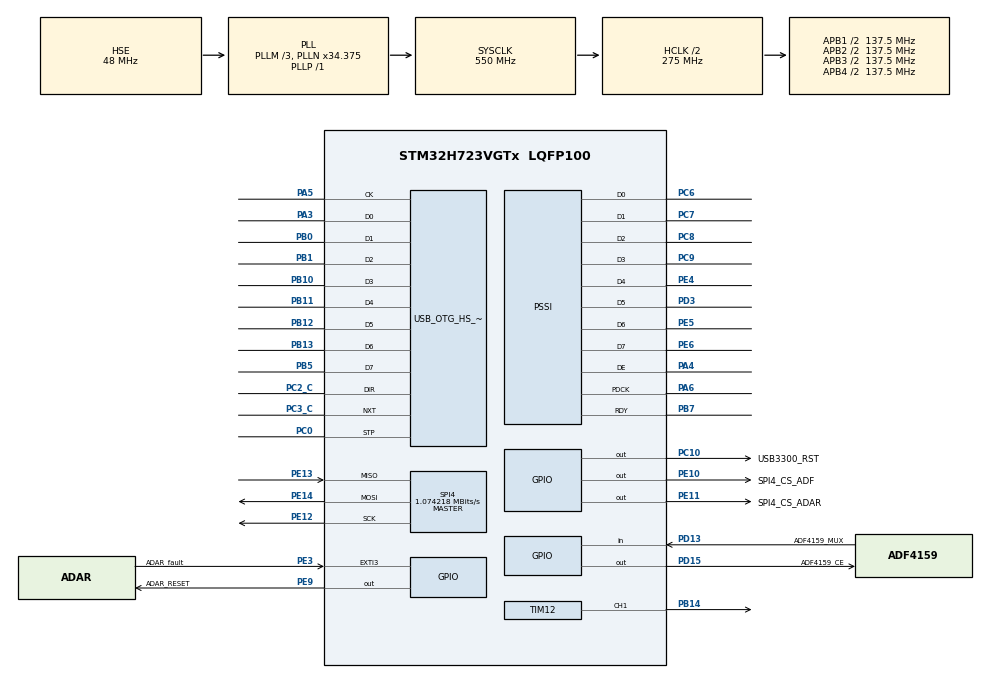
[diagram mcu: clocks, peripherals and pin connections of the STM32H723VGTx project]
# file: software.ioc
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CORTEX_M7.AccessPermission_Spec=MPU_REGION_FULL_ACCESS
CORTEX_M7.BaseAddress_Spec=0x24000000
CORTEX_M7.CPU_DCache=Enabled
CORTEX_M7.CPU_ICache=Enabled
CORTEX_M7.MPU_Control=MPU_PRIVILEGED_DEFAULT
CORTEX_M7.Size_Spec=MPU_REGION_SIZE_512KB
CORTEX_M7.SubRegionDisable_Spec=0x87
CORTEX_M7.TypeExtField_Spec=MPU_TEX_LEVEL1
CORTEX_M7.default_mode_Activation=1
Dma.FMAC_RD.1.Direction=DMA_PERIPH_TO_MEMORY
Dma.FMAC_RD.1.EventEnable=DISABLE
Dma.FMAC_RD.1.FIFOMode=DMA_FIFOMODE_DISABLE
Dma.FMAC_RD.1.Instance=DMA1_Stream1
Dma.FMAC_RD.1.MemDataAlignment=DMA_MDATAALIGN_BYTE
Dma.FMAC_RD.1.MemInc=DMA_MINC_ENABLE
Dma.FMAC_RD.1.Mode=DMA_CIRCULAR
Dma.FMAC_RD.1.PeriphDataAlignment=DMA_PDATAALIGN_BYTE
Dma.FMAC_RD.1.PeriphInc=DMA_PINC_DISABLE
Dma.FMAC_RD.1.Polarity=HAL_DMAMUX_REQ_GEN_RISING
Dma.FMAC_RD.1.Priority=DMA_PRIORITY_LOW
Dma.FMAC_RD.1.RequestNumber=1
Dma.FMAC_RD.1.SignalID=NONE
Dma.FMAC_RD.1.SyncEnable=DISABLE
Dma.FMAC_RD.1.SyncPolarity=HAL_DMAMUX_SYNC_NO_EVENT
Dma.FMAC_RD.1.SyncRequestNumber=1
Dma.FMAC_RD.1.SyncSignalID=NONE
Dma.FMAC_WR.2.Direction=DMA_MEMORY_TO_PERIPH
Dma.FMAC_WR.2.EventEnable=DISABLE
Dma.FMAC_WR.2.FIFOMode=DMA_FIFOMODE_DISABLE
Dma.FMAC_WR.2.Instance=DMA1_Stream2
Dma.FMAC_WR.2.MemDataAlignment=DMA_MDATAALIGN_BYTE
Dma.FMAC_WR.2.MemInc=DMA_MINC_ENABLE
Dma.FMAC_WR.2.Mode=DMA_CIRCULAR
Dma.FMAC_WR.2.PeriphDataAlignment=DMA_PDATAALIGN_BYTE
Dma.FMAC_WR.2.PeriphInc=DMA_PINC_DISABLE
Dma.FMAC_WR.2.Polarity=HAL_DMAMUX_REQ_GEN_RISING
Dma.FMAC_WR.2.Priority=DMA_PRIORITY_LOW
Dma.FMAC_WR.2.RequestNumber=1
Dma.FMAC_WR.2.SignalID=NONE
Dma.FMAC_WR.2.SyncEnable=DISABLE
Dma.FMAC_WR.2.SyncPolarity=HAL_DMAMUX_SYNC_NO_EVENT
Dma.FMAC_WR.2.SyncRequestNumber=1
Dma.FMAC_WR.2.SyncSignalID=NONE
Dma.PSSI.0.Direction=DMA_PERIPH_TO_MEMORY
Dma.PSSI.0.EventEnable=DISABLE
Dma.PSSI.0.FIFOMode=DMA_FIFOMODE_ENABLE
Dma.PSSI.0.FIFOThreshold=DMA_FIFO_THRESHOLD_HALFFULL
Dma.PSSI.0.Instance=DMA1_Stream0
Dma.PSSI.0.MemBurst=DMA_MBURST_SINGLE
Dma.PSSI.0.MemDataAlignment=DMA_MDATAALIGN_BYTE
Dma.PSSI.0.MemInc=DMA_MINC_ENABLE
Dma.PSSI.0.Mode=DMA_CIRCULAR
Dma.PSSI.0.PeriphBurst=DMA_PBURST_SINGLE
Dma.PSSI.0.PeriphDataAlignment=DMA_PDATAALIGN_WORD
Dma.PSSI.0.PeriphInc=DMA_PINC_DISABLE
Dma.PSSI.0.Polarity=HAL_DMAMUX_REQ_GEN_RISING
Dma.PSSI.0.Priority=DMA_PRIORITY_VERY_HIGH
Dma.PSSI.0.RequestNumber=1
Dma.PSSI.0.SignalID=NONE
Dma.PSSI.0.SyncEnable=DISABLE
Dma.PSSI.0.SyncPolarity=HAL_DMAMUX_SYNC_NO_EVENT
Dma.PSSI.0.SyncRequestNumber=1
Dma.PSSI.0.SyncSignalID=NONE
Dma.Request0=PSSI
Dma.Request1=FMAC_RD
Dma.Request2=FMAC_WR
FREERTOS.Tasks01=defaultTask,24,128,StartDefaultTask,Default,NULL,Dynamic,NULL,NULL
Mcu.Family=STM32H7
Mcu.Name=STM32H723VGTx
Mcu.Package=LQFP100
NVIC.DCMI_PSSI_IRQn=true\:5\:0\:false\:false\:true\:true\:true\:true\:true
NVIC.DMA1_Stream0_IRQn=true\:5\:0\:false\:false\:true\:true\:false\:true\:true
NVIC.DMA1_Stream1_IRQn=true\:5\:0\:false\:false\:true\:true\:false\:true\:true
NVIC.DMA1_Stream2_IRQn=true\:5\:0\:false\:false\:true\:true\:false\:true\:true
NVIC.EXTI3_IRQn=true\:5\:0\:false\:false\:true\:true\:true\:true\:true
NVIC.FMAC_IRQn=true\:5\:0\:false\:false\:true\:true\:true\:true\:true
NVIC.OTG_HS_IRQn=true\:5\:0\:false\:false\:true\:true\:false\:true\:true
NVIC.PriorityGroup=NVIC_PRIORITYGROUP_4
NVIC.SPI4_IRQn=true\:5\:0\:false\:false\:true\:true\:true\:true\:true
NVIC.TIM4_IRQn=true\:15\:0\:false\:false\:true\:false\:false\:true\:true
NVIC.TIM8_BRK_TIM12_IRQn=true\:5\:0\:false\:false\:true\:true\:true\:true\:true
NVIC.TimeBase=TIM4_IRQn
NVIC.TimeBaseIP=TIM4
PA13(JTMS/SWDIO).Mode=Serial_Wire
PA13(JTMS/SWDIO).Signal=DEBUG_JTMS-SWDIO
PA14(JTCK/SWCLK).Mode=Serial_Wire
PA14(JTCK/SWCLK).Signal=DEBUG_JTCK-SWCLK
PA3.Mode=Device_HS
PA3.Signal=USB_OTG_HS_ULPI_D0
PA4.Mode=PSSI_8
PA4.Signal=PSSI_DE
PA5.Mode=Device_HS
PA5.Signal=USB_OTG_HS_ULPI_CK
PA6.Mode=PSSI_8
PA6.Signal=PSSI_PDCK
PB0.Mode=Device_HS
PB0.Signal=USB_OTG_HS_ULPI_D1
PB1.Mode=Device_HS
PB1.Signal=USB_OTG_HS_ULPI_D2
PB10.Mode=Device_HS
PB10.Signal=USB_OTG_HS_ULPI_D3
PB11.Mode=Device_HS
PB11.Signal=USB_OTG_HS_ULPI_D4
PB12.Mode=Device_HS
PB12.Signal=USB_OTG_HS_ULPI_D5
PB13.Mode=Device_HS
PB13.Signal=USB_OTG_HS_ULPI_D6
PB14.Signal=S_TIM12_CH1
PB5.Mode=Device_HS
PB5.Signal=USB_OTG_HS_ULPI_D7
PB7.Mode=PSSI_8
PB7.Signal=PSSI_RDY
PC0.Mode=Device_HS
PC0.Signal=USB_OTG_HS_ULPI_STP
PC10.GPIO_Label=USB3300_RST
PC10.Signal=GPIO_Output
PC2_C.Mode=Device_HS
PC2_C.Signal=USB_OTG_HS_ULPI_DIR
PC3_C.Mode=Device_HS
PC3_C.Signal=USB_OTG_HS_ULPI_NXT
PC6.Mode=PSSI_8
PC6.Signal=PSSI_D0
PC7.Mode=PSSI_8
PC7.Signal=PSSI_D1
PC8.Mode=PSSI_8
PC8.Signal=PSSI_D2
PC9.Mode=PSSI_8
PC9.Signal=PSSI_D3
PD13.GPIO_Label=ADF4159_MUX
PD13.Signal=GPIO_Input
PD15.GPIO_Label=ADF4159_CE
PD15.Signal=GPIO_Output
PD3.Mode=PSSI_8
PD3.Signal=PSSI_D5
PE10.GPIO_Label=SPI4_CS_ADF
PE10.Signal=GPIO_Output
PE11.GPIO_Label=SPI4_CS_ADAR
PE11.Signal=GPIO_Output
PE12.Mode=Full_Duplex_Master
PE12.Signal=SPI4_SCK
PE13.Mode=Full_Duplex_Master
PE13.Signal=SPI4_MISO
PE14.Mode=Full_Duplex_Master
PE14.Signal=SPI4_MOSI
PE3.GPIO_Label=ADAR_fault
PE3.GPIO_ModeDefaultEXTI=GPIO_MODE_IT_FALLING
PE3.GPIO_PuPd=GPIO_PULLUP
PE3.Signal=GPXTI3
PE4.Mode=PSSI_8
PE4.Signal=PSSI_D4
PE5.Mode=PSSI_8
PE5.Signal=PSSI_D6
PE6.Mode=PSSI_8
PE6.Signal=PSSI_D7
PE9.GPIO_Label=ADAR_RESET
PE9.Signal=GPIO_Output
PH0-OSC_IN.Mode=HSE-External-Clock-Source
PH0-OSC_IN.Signal=RCC_OSC_IN
PSSI.BusWidth=HAL_PSSI_8LINES
PSSI.ControlSignal=HAL_PSSI_DE_ENABLE
ProjectManager.HeapSize=0x200
ProjectManager.StackSize=0x400
ProjectManager.TargetToolchain=CMake
RCC.ADCFreq_Value=96750000
RCC.APB1Freq_Value=137500000
RCC.APB2Freq_Value=137500000
RCC.APB3Freq_Value=137500000
RCC.APB4Freq_Value=137500000
RCC.CKPERSourceSelection=RCC_CLKPSOURCE_HSE
RCC.CortexFreq_Value=550000000
RCC.D1PPRE=RCC_APB3_DIV2
RCC.D2PPRE1=RCC_APB1_DIV2
RCC.D2PPRE2=RCC_APB2_DIV2
RCC.D3PPRE=RCC_APB4_DIV2
RCC.DIVM1=3
RCC.DIVN1=34
RCC.DIVP1=1
RCC.DIVQ1=5
RCC.HCLKFreq_Value=275000000
RCC.HPRE=RCC_HCLK_DIV2
RCC.HSE_VALUE=48000000
RCC.PLL1_VCI_Range=RCC_PLL1VCIRANGE_3
RCC.PLL2FRACN=0
RCC.PLL3FRACN=0
RCC.PLLFRACN=3072
RCC.SAI1CLockSelection=RCC_SAI1CLKSOURCE_CLKP
RCC.SYSCLKFreq_VALUE=550000000
RCC.SYSCLKSource=RCC_SYSCLKSOURCE_PLLCLK
RCC.USBFreq_Value=110000000
SH.S_TIM12_CH1.0=TIM12_CH1,PWM Generation1 CH1
SPI4.BaudRatePrescaler=SPI_BAUDRATEPRESCALER_128
SPI4.CLKPhase=SPI_PHASE_2EDGE
SPI4.CLKPolarity=SPI_POLARITY_HIGH
SPI4.CalculateBaudRate=1.074218 MBits/s
SPI4.DataSize=SPI_DATASIZE_8BIT
SPI4.Direction=SPI_DIRECTION_2LINES
SPI4.Mode=SPI_MODE_MASTER
SPI4.VirtualType=VM_MASTER
STMicroelectronics.FP-SNS-STAIOTCFT.1.0.0.MathOoLibCcCMSISJjDSPJjInclude=true
STMicroelectronics.FP-SNS-STAIOTCFT.1.0.0.MathOoLibCcCMSISJjDSPJjLib=true
TIM12.Channel-PWM\ Generation1\ CH1=TIM_CHANNEL_1
TIM12.OCMode_PWM-PWM\ Generation1\ CH1=TIM_OCMODE_PWM2
TIM12.OCPolarity_1=TIM_OCPOLARITY_LOW
TIM12.Period=100
TIM12.Prescaler=274
TIM12.Pulse-PWM\ Generation1\ CH1=50
TIM12.TIM_MasterOutputTrigger=TIM_TRGO_RESET
TIM12.TIM_MasterSlaveMode=TIM_MASTERSLAVEMODE_DISABLE
USB_DEVICE.CLASS_NAME_HS=CDC
USB_DEVICE.VirtualMode=Cdc
USB_DEVICE.VirtualModeHS=Cdc_HS
USB_OTG_HS.VirtualMode-Device_HS=Device_HS
USB_OTG_HS.dma_enable-Device_HS=ENABLE
VP_CORDIC_VS_CORDIC.Mode=CORDIC_Activate
VP_FMAC_VS_FMAC.Mode=FMAC_Activate
VP_FREERTOS_VS_CMSIS_V2.Mode=CMSIS_V2
VP_MEMORYMAP_VS_MEMORYMAP.Mode=CurAppReg
VP_STMicroelectronics.FP-SNS-STAIOTCFT_VS_CMSISJjMathOoLib_1.0.0_1.0.0.Mode=CMSISJjMathOoLib
VP_SYS_VS_tim4.Mode=TIM4
VP_TIM12_VS_ClockSourceINT.Mode=Internal
VP_TIM12_VS_OPM.Mode=OPM_bit
VP_USB_DEVICE_VS_USB_DEVICE_CDC_HS.Mode=CDC_HS
board=custom

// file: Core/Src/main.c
/* USER CODE BEGIN Header */
/**
  ******************************************************************************
  * @file           : main.c
  * @brief          : Main program body
  ******************************************************************************
  * @attention
  *
  * Copyright (c) 2026 STMicroelectronics.
  * All rights reserved.
  *
  * This software is licensed under terms that can be found in the LICENSE file
  * in the root directory of this software component.
  * If no LICENSE file comes with this software, it is provided AS-IS.
  *
  ******************************************************************************
  */
/* USER CODE END Header */
#include "main.h"
#include "cmsis_os.h"
#include "usb_device.h"

/* USER CODE BEGIN Includes */
#include "adar7251.h"
#include "adf4159.h"
#include "arm_math.h"
#include "dsp.h"
/* USER CODE END Includes */

CORDIC_HandleTypeDef hcordic;

FMAC_HandleTypeDef hfmac;
DMA_HandleTypeDef hdma_fmac_rd;
DMA_HandleTypeDef hdma_fmac_wr;

PSSI_HandleTypeDef hpssi;
DMA_HandleTypeDef hdma_pssi;

SPI_HandleTypeDef hspi4;

TIM_HandleTypeDef htim12;

/* Definitions for defaultTask */
osThreadId_t defaultTaskHandle;
const osThreadAttr_t defaultTask_attributes = {
  .name = "defaultTask",
  .stack_size = 128 * 4,
  .priority = (osPriority_t) osPriorityNormal,
};
/* USER CODE BEGIN PV */
const int16_t aFilterCoeffB[100] = {
  // Insert your 100 calculated Q1.15 coefficients here
  0x0012, 0x0024, 0x0036, /* ... */ 0x0000
};
/* USER CODE END PV */

void SystemClock_Config(void);
static void MPU_Config(void);
static void MX_GPIO_Init(void);
static void MX_DMA_Init(void);
static void MX_SPI4_Init(void);
static void MX_PSSI_Init(void);
static void MX_TIM12_Init(void);
static void MX_CORDIC_Init(void);
static void MX_FMAC_Init(void);
void StartDefaultTask(void *argument);

/* USER CODE BEGIN PFP */
void Init_Hardware_Accelerators(void);

/* USER CODE END PFP */

int main(void)
{

  /* MPU Configuration--------------------------------------------------------*/
  MPU_Config();

  /* Enable the CPU Cache */

  /* Enable I-Cache---------------------------------------------------------*/
  SCB_EnableICache();

  /* Enable D-Cache---------------------------------------------------------*/
  SCB_EnableDCache();

  /* MCU Configuration--------------------------------------------------------*/

  /* Reset of all peripherals, Initializes the Flash interface and the Systick. */
  HAL_Init();

  /* Configure the system clock */
  SystemClock_Config();

  /* Initialize all configured peripherals */
  MX_GPIO_Init();
  MX_DMA_Init();
  MX_SPI4_Init();
  MX_PSSI_Init();
  MX_TIM12_Init();
  MX_CORDIC_Init();
  MX_FMAC_Init();

  /* Init scheduler */
  osKernelInitialize();

  /* Create the thread(s) */
  /* creation of defaultTask */
  defaultTaskHandle = osThreadNew(StartDefaultTask, NULL, &defaultTask_attributes);

  /* Start scheduler */
  osKernelStart();

  /* We should never get here as control is now taken by the scheduler */

  /* Infinite loop */
  while (1)
  {

  }
}

void SystemClock_Config(void)
{
  RCC_OscInitTypeDef RCC_OscInitStruct = {0};
  RCC_ClkInitTypeDef RCC_ClkInitStruct = {0};

  /** Supply configuration update enable
  */
  HAL_PWREx_ConfigSupply(PWR_LDO_SUPPLY);

  /** Configure the main internal regulator output voltage
  */
  __HAL_PWR_VOLTAGESCALING_CONFIG(PWR_REGULATOR_VOLTAGE_SCALE0);

  while(!__HAL_PWR_GET_FLAG(PWR_FLAG_VOSRDY)) {}

  /** Initializes the RCC Oscillators according to the specified parameters
  * in the RCC_OscInitTypeDef structure.
  */
  RCC_OscInitStruct.OscillatorType = RCC_OSCILLATORTYPE_HSE;
  RCC_OscInitStruct.HSEState = RCC_HSE_BYPASS;
  RCC_OscInitStruct.PLL.PLLState = RCC_PLL_ON;
  RCC_OscInitStruct.PLL.PLLSource = RCC_PLLSOURCE_HSE;
  RCC_OscInitStruct.PLL.PLLM = 3;
  RCC_OscInitStruct.PLL.PLLN = 34;
  RCC_OscInitStruct.PLL.PLLP = 1;
  RCC_OscInitStruct.PLL.PLLQ = 5;
  RCC_OscInitStruct.PLL.PLLR = 2;
  RCC_OscInitStruct.PLL.PLLRGE = RCC_PLL1VCIRANGE_3;
  RCC_OscInitStruct.PLL.PLLVCOSEL = RCC_PLL1VCOWIDE;
  RCC_OscInitStruct.PLL.PLLFRACN = 3072;
  if (HAL_RCC_OscConfig(&RCC_OscInitStruct) != HAL_OK)
  {
    Error_Handler();
  }

  /** Initializes the CPU, AHB and APB buses clocks
  */
  RCC_ClkInitStruct.ClockType = RCC_CLOCKTYPE_HCLK|RCC_CLOCKTYPE_SYSCLK
                              |RCC_CLOCKTYPE_PCLK1|RCC_CLOCKTYPE_PCLK2
                              |RCC_CLOCKTYPE_D3PCLK1|RCC_CLOCKTYPE_D1PCLK1;
  RCC_ClkInitStruct.SYSCLKSource = RCC_SYSCLKSOURCE_PLLCLK;
  RCC_ClkInitStruct.SYSCLKDivider = RCC_SYSCLK_DIV1;
  RCC_ClkInitStruct.AHBCLKDivider = RCC_HCLK_DIV2;
  RCC_ClkInitStruct.APB3CLKDivider = RCC_APB3_DIV2;
  RCC_ClkInitStruct.APB1CLKDivider = RCC_APB1_DIV2;
  RCC_ClkInitStruct.APB2CLKDivider = RCC_APB2_DIV2;
  RCC_ClkInitStruct.APB4CLKDivider = RCC_APB4_DIV2;

  if (HAL_RCC_ClockConfig(&RCC_ClkInitStruct, FLASH_LATENCY_3) != HAL_OK)
  {
    Error_Handler();
  }
}

static void MX_CORDIC_Init(void)
{

  hcordic.Instance = CORDIC;
  if (HAL_CORDIC_Init(&hcordic) != HAL_OK)
  {
    Error_Handler();
  }

}

static void MX_FMAC_Init(void)
{

  /* USER CODE BEGIN FMAC_Init 0 */
  // Before accessing any FMAC registers, the FMAC clock must be enabled
  __HAL_RCC_FMAC_CLK_ENABLE();
  /* USER CODE END FMAC_Init 0 */

  hfmac.Instance = FMAC;
  if (HAL_FMAC_Init(&hfmac) != HAL_OK)
  {
    Error_Handler();
  }

}

static void MX_PSSI_Init(void)
{

  hpssi.Instance = PSSI;
  hpssi.Init.DataWidth = HAL_PSSI_8BITS;
  hpssi.Init.BusWidth = HAL_PSSI_8LINES;
  hpssi.Init.ControlSignal = HAL_PSSI_DE_ENABLE;
  hpssi.Init.ClockPolarity = HAL_PSSI_FALLING_EDGE;
  hpssi.Init.DataEnablePolarity = HAL_PSSI_DEPOL_ACTIVE_LOW;
  hpssi.Init.ReadyPolarity = HAL_PSSI_RDYPOL_ACTIVE_LOW;
  if (HAL_PSSI_Init(&hpssi) != HAL_OK)
  {
    Error_Handler();
  }

}

static void MX_SPI4_Init(void)
{

  /* SPI4 parameter configuration*/
  hspi4.Instance = SPI4;
  hspi4.Init.Mode = SPI_MODE_MASTER;
  hspi4.Init.Direction = SPI_DIRECTION_2LINES;
  hspi4.Init.DataSize = SPI_DATASIZE_8BIT;
  hspi4.Init.CLKPolarity = SPI_POLARITY_HIGH;
  hspi4.Init.CLKPhase = SPI_PHASE_2EDGE;
  hspi4.Init.NSS = SPI_NSS_SOFT;
  hspi4.Init.BaudRatePrescaler = SPI_BAUDRATEPRESCALER_128;
  hspi4.Init.FirstBit = SPI_FIRSTBIT_MSB;
  hspi4.Init.TIMode = SPI_TIMODE_DISABLE;
  hspi4.Init.CRCCalculation = SPI_CRCCALCULATION_DISABLE;
  hspi4.Init.CRCPolynomial = 0x0;
  hspi4.Init.NSSPMode = SPI_NSS_PULSE_ENABLE;
  hspi4.Init.NSSPolarity = SPI_NSS_POLARITY_LOW;
  hspi4.Init.FifoThreshold = SPI_FIFO_THRESHOLD_01DATA;
  hspi4.Init.TxCRCInitializationPattern = SPI_CRC_INITIALIZATION_ALL_ZERO_PATTERN;
  hspi4.Init.RxCRCInitializationPattern = SPI_CRC_INITIALIZATION_ALL_ZERO_PATTERN;
  hspi4.Init.MasterSSIdleness = SPI_MASTER_SS_IDLENESS_00CYCLE;
  hspi4.Init.MasterInterDataIdleness = SPI_MASTER_INTERDATA_IDLENESS_00CYCLE;
  hspi4.Init.MasterReceiverAutoSusp = SPI_MASTER_RX_AUTOSUSP_DISABLE;
  hspi4.Init.MasterKeepIOState = SPI_MASTER_KEEP_IO_STATE_DISABLE;
  hspi4.Init.IOSwap = SPI_IO_SWAP_DISABLE;
  if (HAL_SPI_Init(&hspi4) != HAL_OK)
  {
    Error_Handler();
  }

}

static void MX_TIM12_Init(void)
{

  TIM_ClockConfigTypeDef sClockSourceConfig = {0};
  TIM_MasterConfigTypeDef sMasterConfig = {0};
  TIM_OC_InitTypeDef sConfigOC = {0};

  htim12.Instance = TIM12;
  htim12.Init.Prescaler = 274;
  htim12.Init.CounterMode = TIM_COUNTERMODE_UP;
  htim12.Init.Period = 100;
  htim12.Init.ClockDivision = TIM_CLOCKDIVISION_DIV1;
  htim12.Init.AutoReloadPreload = TIM_AUTORELOAD_PRELOAD_DISABLE;
  if (HAL_TIM_Base_Init(&htim12) != HAL_OK)
  {
    Error_Handler();
  }
  sClockSourceConfig.ClockSource = TIM_CLOCKSOURCE_INTERNAL;
  if (HAL_TIM_ConfigClockSource(&htim12, &sClockSourceConfig) != HAL_OK)
  {
    Error_Handler();
  }
  if (HAL_TIM_PWM_Init(&htim12) != HAL_OK)
  {
    Error_Handler();
  }
  if (HAL_TIM_OnePulse_Init(&htim12, TIM_OPMODE_SINGLE) != HAL_OK)
  {
    Error_Handler();
  }
  sMasterConfig.MasterOutputTrigger = TIM_TRGO_RESET;
  sMasterConfig.MasterSlaveMode = TIM_MASTERSLAVEMODE_DISABLE;
  if (HAL_TIMEx_MasterConfigSynchronization(&htim12, &sMasterConfig) != HAL_OK)
  {
    Error_Handler();
  }
  sConfigOC.OCMode = TIM_OCMODE_PWM2;
  sConfigOC.Pulse = 50;
  sConfigOC.OCPolarity = TIM_OCPOLARITY_LOW;
  sConfigOC.OCFastMode = TIM_OCFAST_DISABLE;
  if (HAL_TIM_PWM_ConfigChannel(&htim12, &sConfigOC, TIM_CHANNEL_1) != HAL_OK)
  {
    Error_Handler();
  }
  HAL_TIM_MspPostInit(&htim12);

}

static void MX_DMA_Init(void)
{

  /* DMA controller clock enable */
  __HAL_RCC_DMA1_CLK_ENABLE();

  /* DMA interrupt init */
  /* DMA1_Stream0_IRQn interrupt configuration */
  HAL_NVIC_SetPriority(DMA1_Stream0_IRQn, 5, 0);
  HAL_NVIC_EnableIRQ(DMA1_Stream0_IRQn);
  /* DMA1_Stream1_IRQn interrupt configuration */
  HAL_NVIC_SetPriority(DMA1_Stream1_IRQn, 5, 0);
  HAL_NVIC_EnableIRQ(DMA1_Stream1_IRQn);
  /* DMA1_Stream2_IRQn interrupt configuration */
  HAL_NVIC_SetPriority(DMA1_Stream2_IRQn, 5, 0);
  HAL_NVIC_EnableIRQ(DMA1_Stream2_IRQn);

}

static void MX_GPIO_Init(void)
{
  GPIO_InitTypeDef GPIO_InitStruct = {0};

  /* GPIO Ports Clock Enable */
  __HAL_RCC_GPIOE_CLK_ENABLE();
  __HAL_RCC_GPIOH_CLK_ENABLE();
  __HAL_RCC_GPIOC_CLK_ENABLE();
  __HAL_RCC_GPIOA_CLK_ENABLE();
  __HAL_RCC_GPIOB_CLK_ENABLE();
  __HAL_RCC_GPIOD_CLK_ENABLE();

  /*Configure GPIO pin Output Level */
  HAL_GPIO_WritePin(GPIOE, ADAR_RESET_Pin|SPI4_CS_ADF_Pin|SPI4_CS_ADAR_Pin, GPIO_PIN_RESET);

  /*Configure GPIO pin Output Level */
  HAL_GPIO_WritePin(ADF4159_CE_GPIO_Port, ADF4159_CE_Pin, GPIO_PIN_RESET);

  /*Configure GPIO pin Output Level */
  HAL_GPIO_WritePin(USB3300_RST_GPIO_Port, USB3300_RST_Pin, GPIO_PIN_RESET);

  /*Configure GPIO pin : ADAR_fault_Pin */
  GPIO_InitStruct.Pin = ADAR_fault_Pin;
  GPIO_InitStruct.Mode = GPIO_MODE_IT_FALLING;
  GPIO_InitStruct.Pull = GPIO_PULLUP;
  HAL_GPIO_Init(ADAR_fault_GPIO_Port, &GPIO_InitStruct);

  /*Configure GPIO pins : ADAR_RESET_Pin SPI4_CS_ADF_Pin SPI4_CS_ADAR_Pin */
  GPIO_InitStruct.Pin = ADAR_RESET_Pin|SPI4_CS_ADF_Pin|SPI4_CS_ADAR_Pin;
  GPIO_InitStruct.Mode = GPIO_MODE_OUTPUT_PP;
  GPIO_InitStruct.Pull = GPIO_NOPULL;
  GPIO_InitStruct.Speed = GPIO_SPEED_FREQ_LOW;
  HAL_GPIO_Init(GPIOE, &GPIO_InitStruct);

  /*Configure GPIO pin : ADF4159_MUX_Pin */
  GPIO_InitStruct.Pin = ADF4159_MUX_Pin;
  GPIO_InitStruct.Mode = GPIO_MODE_INPUT;
  GPIO_InitStruct.Pull = GPIO_NOPULL;
  HAL_GPIO_Init(ADF4159_MUX_GPIO_Port, &GPIO_InitStruct);

  /*Configure GPIO pin : ADF4159_CE_Pin */
  GPIO_InitStruct.Pin = ADF4159_CE_Pin;
  GPIO_InitStruct.Mode = GPIO_MODE_OUTPUT_PP;
  GPIO_InitStruct.Pull = GPIO_NOPULL;
  GPIO_InitStruct.Speed = GPIO_SPEED_FREQ_LOW;
  HAL_GPIO_Init(ADF4159_CE_GPIO_Port, &GPIO_InitStruct);

  /*Configure GPIO pin : USB3300_RST_Pin */
  GPIO_InitStruct.Pin = USB3300_RST_Pin;
  GPIO_InitStruct.Mode = GPIO_MODE_OUTPUT_PP;
  GPIO_InitStruct.Pull = GPIO_NOPULL;
  GPIO_InitStruct.Speed = GPIO_SPEED_FREQ_LOW;
  HAL_GPIO_Init(USB3300_RST_GPIO_Port, &GPIO_InitStruct);

  /* EXTI interrupt init*/
  HAL_NVIC_SetPriority(ADAR_fault_EXTI_IRQn, 5, 0);
  HAL_NVIC_EnableIRQ(ADAR_fault_EXTI_IRQn);

}

/* USER CODE BEGIN 4 */
void Init_Hardware_Accelerators(void)
{
    // ====================================================================
    // 1. FMAC CONFIGURATION (100-Tap FIR)
    // ====================================================================
    /*
     * CRITICAL FMAC MEMORY MAP:
     * The FMAC has exactly 256 words (16-bit) of internal memory.
     * Memory = Coeff Buffer (X1) + Input Buffer (X2) + Output Buffer (Y)
     *
     * For a 100-tap FIR:
     * - Coeff Buffer must be exactly 100 words.
     * - Input Buffer must be >= (Taps + 1) = 101 words.
     * - Output Buffer takes the rest.
     * Total: 100 + 102 + 54 = 256 words. (Fits perfectly!)
     */

    FMAC_FilterConfigTypeDef sFmacConfig = {0};

    // --- Coefficient Area (X1) ---
    sFmacConfig.CoeffBaseAddress  = 0;          // Start at address 0
    sFmacConfig.CoeffBSize        = 100;        // 100 taps
    sFmacConfig.pCoeffA      = NULL;                // Not used for FIR
    sFmacConfig.CoeffASize   = 0;
    sFmacConfig.pCoeffB      = aFilterCoeffB;       // Your FIR taps
    sFmacConfig.CoeffBSize   = FIR_TAPS;
    // --- Input Area (X2) ---
    sFmacConfig.InputBaseAddress  = 100;        // Start right after coeffs
    sFmacConfig.InputBufferSize   = 100;
    sFmacConfig.InputThreshold    = FMAC_THRESHOLD_1;

    // --- Output Area (Y) ---
    sFmacConfig.OutputBaseAddress = 200;        // Start right after input buffer
    sFmacConfig.OutputBufferSize  = 56;         // Remaining memory (256 - 202 = 54)
    sFmacConfig.OutputThreshold   = FMAC_THRESHOLD_1;

    // --- Processing Configuration ---
    sFmacConfig.Filter            = FMAC_FUNC_CONVO_FIR; // Standard FIR Convolution
    sFmacConfig.Clip              = FMAC_CLIP_ENABLED;   // Prevent Q1.15 overflow wrap-around
    sFmacConfig.InputAccess       = FMAC_BUFFER_ACCESS_DMA; // Polling mode (used in FilterStart)
    sFmacConfig.OutputAccess      = FMAC_BUFFER_ACCESS_DMA; // Polling mode (used in FilterStart)

    // Input Threshold: Request DMA Write when X1 buffer has at least 1 free slot
    // Output Threshold: Request DMA Read when Y buffer has at least 1 valid sample
    // This keeps the "pipe" flowing constantly so the 56-word buffer never fills up.
    sFmacConfig.InputThreshold    = FMAC_THRESHOLD_1;
    sFmacConfig.OutputThreshold   = FMAC_THRESHOLD_1;

    // --- FIR Specific parameters ---
    sFmacConfig.P            = FIR_TAPS;            // Number of FIR Taps
    sFmacConfig.Q            = 0;                   // Q is not used for standard FIR
    sFmacConfig.R            = 0;                   // Post-shift gain (0 = no shift)

    // Load coefficients and configure FMAC
    if (HAL_FMAC_FilterConfig(&hfmac, &sFmacConfig) != HAL_OK)
    {
        // Configuration Error handling
        Error_Handler();
    }

    // ====================================================================
    // 2. CORDIC CONFIGURATION (Phase / Atan2)
    // ====================================================================
    CORDIC_ConfigTypeDef sCordicConfig = {0};

    // We want to calculate Angle (Phase) from Complex I and Q
    sCordicConfig.Function      = CORDIC_FUNCTION_PHASE;

    // 6 Cycles = 24 iterations. Maximum accuracy for 32-bit floats.
    sCordicConfig.Precision     = CORDIC_PRECISION_6CYCLES;

    // Scale 0 means inputs are standard [-1, 1] range
    sCordicConfig.Scale         = CORDIC_SCALE_0;

    // We feed it 2 inputs: I (X-axis) and Q (Y-axis)
    sCordicConfig.NbWrite       = CORDIC_NBWRITE_2;

    // It normally calculates Phase and Modulus (Magnitude).
    // We only need the Phase, so we only read 1 output to save bus cycles.
    sCordicConfig.NbRead        = CORDIC_NBREAD_1;

    // We are passing Q1.31 32-bit fixed point numbers
    sCordicConfig.InSize        = CORDIC_INSIZE_32BITS;
    sCordicConfig.OutSize       = CORDIC_OUTSIZE_32BITS;

    // Apply configuration to CORDIC
    if (HAL_CORDIC_Configure(&hcordic, &sCordicConfig) != HAL_OK)
    {
        // Configuration Error handling
        Error_Handler();
    }
}
/* USER CODE END 4 */

void StartDefaultTask(void *argument)
{
  /* init code for USB_DEVICE */
  MX_USB_DEVICE_Init();
  /* USER CODE BEGIN 5 */
  // 1. Init internal hardware math accelerators
  Init_Hardware_Accelerators(); // Configures FMAC and CORDIC
  Init_fft();

  // 2. Init external ADF4159 (PLL / FMCW Ramp Generator)
  Init_ADF4159();
  osDelay(1); // Give PLL time to lock (RTOS non-blocking delay!)

  // 3. Init external ADAR7251 (ADC)
  Init_ADAR7251();
  osDelay(5); // Wait for ADC PLL lock and internal offset calibration

  // 4.Arm the DMA and PSSI
  ADAR7251_Begin_Data_Capture();

  /* Infinite loop */
  for(;;)
  {
    osDelay(1);
  }
  /* USER CODE END 5 */
}

 /* MPU Configuration */

void MPU_Config(void)
{
  MPU_Region_InitTypeDef MPU_InitStruct = {0};

  /* Disables the MPU */
  HAL_MPU_Disable();

  /** Initializes and configures the Region and the memory to be protected
  */
  MPU_InitStruct.Enable = MPU_REGION_ENABLE;
  MPU_InitStruct.Number = MPU_REGION_NUMBER0;
  MPU_InitStruct.BaseAddress = 0x24000000;
  MPU_InitStruct.Size = MPU_REGION_SIZE_512KB;
  MPU_InitStruct.SubRegionDisable = 0x87;
  MPU_InitStruct.TypeExtField = MPU_TEX_LEVEL1;
  MPU_InitStruct.AccessPermission = MPU_REGION_FULL_ACCESS;
  MPU_InitStruct.DisableExec = MPU_INSTRUCTION_ACCESS_DISABLE;
  MPU_InitStruct.IsShareable = MPU_ACCESS_SHAREABLE;
  MPU_InitStruct.IsCacheable = MPU_ACCESS_NOT_CACHEABLE;
  MPU_InitStruct.IsBufferable = MPU_ACCESS_NOT_BUFFERABLE;

  HAL_MPU_ConfigRegion(&MPU_InitStruct);
  /* Enables the MPU */
  HAL_MPU_Enable(MPU_PRIVILEGED_DEFAULT);

}

void HAL_TIM_PeriodElapsedCallback(TIM_HandleTypeDef *htim)
{
  if (htim->Instance == TIM4)
  {
    HAL_IncTick();
  }
}

void Error_Handler(void)
{
  __disable_irq();
  while (1)
  {
  }
}
